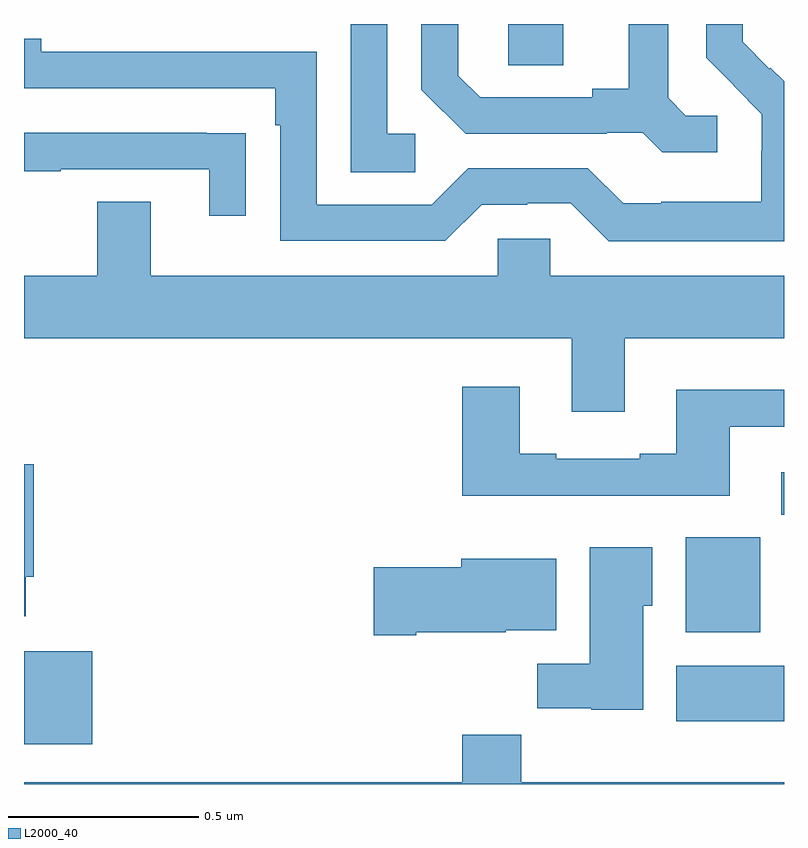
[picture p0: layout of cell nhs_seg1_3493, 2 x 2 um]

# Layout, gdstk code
import gdstk
lib = gdstk.Library(unit=1e-6, precision=1e-09)
def R(c, l, rs):  # rectangles x0, y0, x1, y1
    for r in rs: c.add(gdstk.rectangle(r[:2], r[2:], *l))
def P(c, l, *ps):  # polygons
    for p in ps: c.add(gdstk.Polygon(p, *l))
L2000_40 = (2000, 40)

nhs_seg1_3493 = lib.new_cell('nhs_seg1_3493')
R(nhs_seg1_3493, L2000_40, [(154,577.304,154.18,577.549), (155.717,577.364,156,577.51), (155.741,577.598,155.937,577.849), (155.993,577.907,156,578.02), (155.274,579.091,155.419,579.199)])
P(nhs_seg1_3493, L2000_40, [(155.824,578.958),(155.742,578.958),(155.695,579.005),(155.695,579.199),(155.591,579.199),(155.591,579.029),(155.495,579.029),(155.495,579.006),(155.2,579.006),(155.143,579.063),(155.143,579.199),(155.046,579.199),(155.046,579.026),(155.162,578.91),(155.534,578.91),(155.534,578.913),(155.628,578.913),(155.68,578.861),(155.824,578.861)],
  [(155.029,578.91),(154.956,578.91),(154.956,579.199),(154.86,579.199),(154.86,578.809),(155.029,578.809)],
  [(156,579.048),(155.964,579.084),(155.961,579.081),(155.891,579.152),(155.891,579.199),(155.796,579.199),(155.796,579.11),(155.869,579.037),(155.868,579.036),(155.942,578.962),(155.942,578.865),(155.94,578.865),(155.94,578.731),(155.677,578.731),(155.677,578.727),(155.577,578.727),(155.484,578.82),(155.169,578.82),(155.073,578.724),(154.77,578.724),(154.77,579.126),(154.046,579.126),(154.046,579.16),(154,579.16),(154,579.03),(154.661,579.03),(154.661,578.933),(154.674,578.933),(154.674,578.628),(155.109,578.628),(155.205,578.724),(155.324,578.724),(155.324,578.727),(155.439,578.727),(155.539,578.627),(156,578.627)],
  [(154.583,578.912),(154.481,578.912),(154.481,578.913),(154,578.913),(154,578.812),(154.097,578.812),(154.097,578.817),(154.487,578.817),(154.487,578.694),(154.583,578.694)],
  [(155.581,578.372),(156,578.372),(156,578.536),(155.385,578.536),(155.385,578.634),(155.247,578.634),(155.247,578.536),(154.333,578.536),(154.333,578.731),(154.193,578.731),(154.193,578.536),(154,578.536),(154,578.372),(155.441,578.372),(155.441,578.178),(155.581,578.178)],
  [(155.857,578.139),(156,578.139),(156,578.236),(155.717,578.236),(155.717,578.068),(155.621,578.068),(155.621,578.055),(155.401,578.055),(155.401,578.068),(155.305,578.068),(155.305,578.245),(155.153,578.245),(155.153,577.958),(155.857,577.958)],
  [(154.005,577.744),(154.025,577.744),(154.025,578.041),(154,578.041),(154,577.64),(154.005,577.64)],
  [(155.629,577.668),(155.653,577.668),(155.653,577.822),(155.489,577.822),(155.489,577.516),(155.35,577.516),(155.35,577.398),(155.493,577.398),(155.493,577.394),(155.629,577.394)],
  [(155.032,577.598),(155.268,577.598),(155.268,577.604),(155.401,577.604),(155.401,577.792),(155.15,577.792),(155.15,577.769),(154.92,577.769),(154.92,577.591),(155.032,577.591)],
  [(156,577.204),(155.309,577.204),(155.309,577.328),(155.153,577.328),(155.153,577.204),(154,577.204),(154,577.199),(156,577.199)])

lib.write_gds('nhs_seg1_3493.gds')
